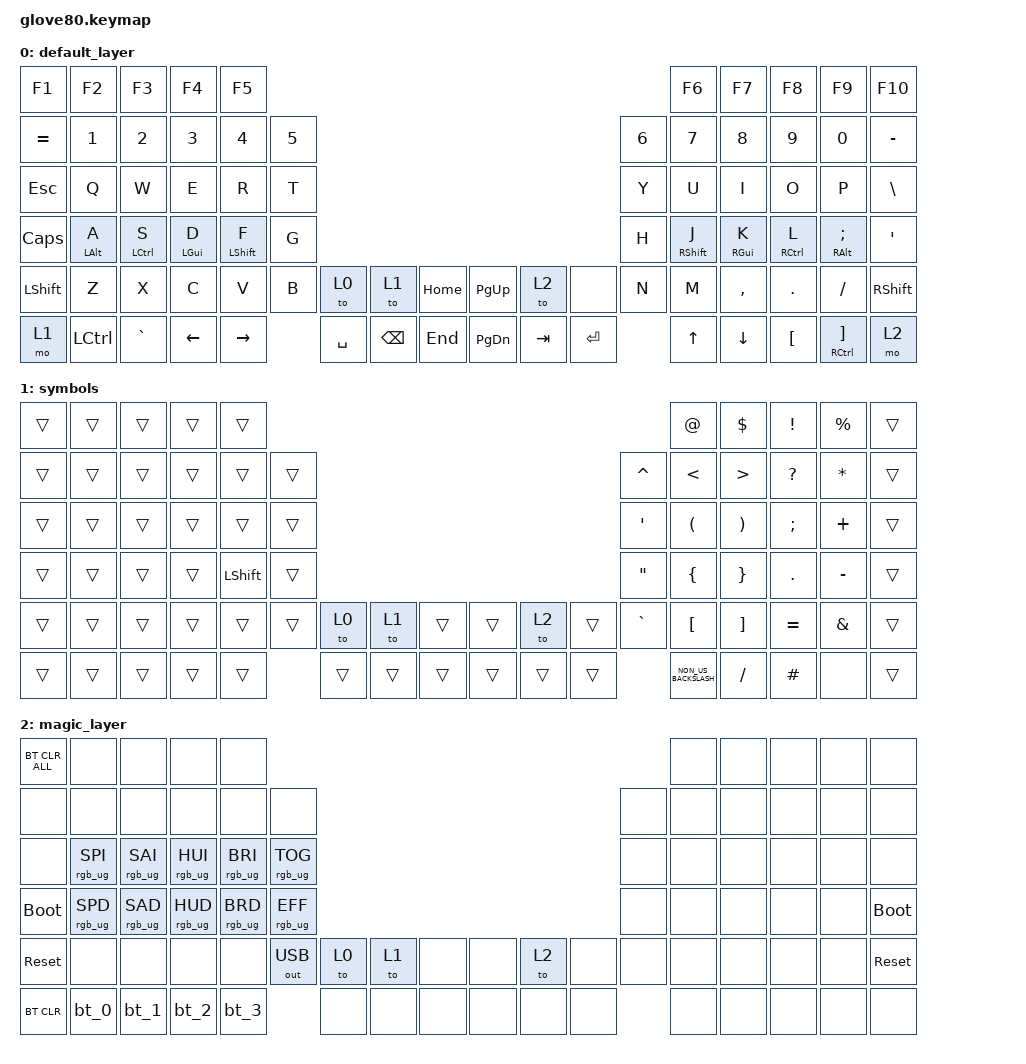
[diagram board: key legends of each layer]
/*
 * Copyright (c) 2020 The ZMK Contributors
 *
 * SPDX-License-Identifier: MIT
 */

#include <behaviors.dtsi>
#include <dt-bindings/zmk/bt.h>
#include <dt-bindings/zmk/keys.h>
#include <dt-bindings/zmk/outputs.h>
#include <dt-bindings/zmk/rgb.h>

#define HYPER LC(LS(LG(LALT)))

// layers

#define DEFAULT 0
#define LOWER 1
#define MAGIC 2
#define FACTORY_TEST 3

&mt {
    tapping-term-ms = <300>;
    flavor = "tap-preferred";
};

/ {
    behaviors {
        // For the "layer" key, it'd nice to be able to use it as either a shift or a toggle.
        // Configure it as a tap dance, so the first tap (or hold) is a &mo and the second tap is a &to

        layer_td: tap_dance_0 {
            compatible = "zmk,behavior-tap-dance";
            label = "LAYER_TAP_DANCE";
            #binding-cells = <0>;
            tapping-term-ms = <200>;
            bindings = <&mo 0>, <&to 0>;
        };

        magic: magic_hold_tap {
            compatible = "zmk,behavior-hold-tap";
            label = "MAGIC_HOLD_TAP";
            #binding-cells = <2>;
            flavor = "tap-preferred";
            tapping-term-ms = <200>;
            bindings = <&mo>, <&rgb_ug_status_macro>;
        };
    };

    macros {
        rgb_ug_status_macro: rgb_ug_status_macro_0 {
            label = "RGB_UG_STATUS";
            compatible = "zmk,behavior-macro";
            #binding-cells = <0>;
            bindings = <&rgb_ug RGB_STATUS>;
        };

        bt_0: bt_profile_macro_0 {
            label = "BT_0";
            compatible = "zmk,behavior-macro";
            #binding-cells = <0>;
            bindings = <&out OUT_BLE &bt BT_SEL 0>;
        };

        bt_1: bt_profile_macro_1 {
            label = "BT_1";
            compatible = "zmk,behavior-macro";
            #binding-cells = <0>;
            bindings = <&out OUT_BLE &bt BT_SEL 1>;
        };

        bt_2: bt_profile_macro_2 {
            label = "BT_2";
            compatible = "zmk,behavior-macro";
            #binding-cells = <0>;
            bindings = <&out OUT_BLE &bt BT_SEL 2>;
        };

        bt_3: bt_profile_macro_3 {
            label = "BT_3";
            compatible = "zmk,behavior-macro";
            #binding-cells = <0>;
            bindings = <&out OUT_BLE &bt BT_SEL 3>;
        };
    };

    keymap {
        compatible = "zmk,keymap";

        default_layer {
            // ---------------------------------------------------------------------------------------------------------------------------------
            // |  F1   |  F2 |  F3 |  F4  |  F5  |                                                               |  F6   |  F7   |  F8  |   F9  |  F10 |
            // |  =    |  1  |  2  |  3   |  4   |  5   |                                                 |  6   |   7   |   8   |  9   |   0   |   -  |
            // |  TAB  |  Q  |  W  |  E   |  R   |  T   |                                                 |  Y   |   U   |   I   |  O   |   P   |   \  |
            // |  ESC  |  A  |  S  |  D   |  F   |  G   |                                                 |  H   |   J   |   K   |  L   |   ;   |   '  |
            // |   `   |  Z  |  X  |  C   |  V   |  B   | LSHFT | LCTRL | LOWER | | LGUI  | RCTRL | RSHFT |  N   |   M   |   ,   |  .   |   /   | PGUP |
            // | MAGIC | HOME| END | LEFT | RIGHT|      | BSPC  | DEL   | LALT  | | RALT  | RET   | SPACE |      |  UP   | DOWN  |  [   |   ]   | PGDN |

            bindings = <
&kp F1          &kp F2          &kp F3       &kp F4          &kp F5                                                                                                   &kp F6             &kp F7           &kp F8       &kp F9                   &kp F10
&kp EQUAL       &kp N1          &kp N2       &kp N3          &kp N4            &kp N5                                                                         &kp N6  &kp N7             &kp N8           &kp N9       &kp N0                   &kp MINUS
&kp ESCAPE      &kp Q           &kp W        &kp E           &kp R             &kp T                                                                          &kp Y   &kp U              &kp I            &kp O        &kp P                    &kp BSLH
&kp CAPS        &mt LEFT_ALT A  &mt LCTRL S  &mt LEFT_GUI D  &mt LEFT_SHIFT F  &kp G                                                                          &kp H   &mt RIGHT_SHIFT J  &mt RIGHT_GUI K  &mt RCTRL L  &mt RIGHT_ALT SEMI       &kp SQT
&kp LEFT_SHIFT  &kp Z           &kp X        &kp C           &kp V             &kp B   &to 0      &to 1          &kp HOME  &kp PAGE_UP    &to 2    &none      &kp N   &kp M              &kp COMMA        &kp DOT      &kp FSLH                 &kp RIGHT_SHIFT
&mo 1           &kp LCTRL       &kp GRAVE    &kp LEFT        &kp RIGHT                 &kp SPACE  &kp BACKSPACE  &kp END   &kp PAGE_DOWN  &kp TAB  &kp ENTER          &kp UP             &kp DOWN         &kp LBKT     &mt RCTRL RIGHT_BRACKET  &mo 2
            >;
        };

        symbols {
            bindings = <
&trans  &trans  &trans  &trans  &trans                                                                                     &kp AT_SIGN           &kp DOLLAR             &kp EXCLAMATION  &kp PERCENT    &trans
&trans  &trans  &trans  &trans  &trans          &trans                                                  &kp CARET          &kp LESS_THAN         &kp GREATER_THAN       &kp QUESTION     &kp ASTERISK   &trans
&trans  &trans  &trans  &trans  &trans          &trans                                                  &kp SINGLE_QUOTE   &kp LEFT_PARENTHESIS  &kp RIGHT_PARENTHESIS  &kp SEMICOLON    &kp PLUS       &trans
&trans  &trans  &trans  &trans  &kp LEFT_SHIFT  &trans                                                  &kp DOUBLE_QUOTES  &kp LEFT_BRACE        &kp RIGHT_BRACE        &kp DOT          &kp MINUS      &trans
&trans  &trans  &trans  &trans  &trans          &trans  &to 0   &to 1   &trans  &trans  &to 2   &trans  &kp GRAVE          &kp LEFT_BRACKET      &kp RIGHT_BRACKET      &kp EQUAL        &kp AMPERSAND  &trans
&trans  &trans  &trans  &trans  &trans                  &trans  &trans  &trans  &trans  &trans  &trans                     &kp NON_US_BACKSLASH  &kp SLASH              &kp HASH         &none          &trans
            >;
        };

        magic_layer {
            bindings = <
&bt BT_CLR_ALL  &none            &none            &none            &none                                                                              &none  &none  &none  &none  &none
&none           &none            &none            &none            &none            &none                                                      &none  &none  &none  &none  &none  &none
&none           &rgb_ug RGB_SPI  &rgb_ug RGB_SAI  &rgb_ug RGB_HUI  &rgb_ug RGB_BRI  &rgb_ug RGB_TOG                                            &none  &none  &none  &none  &none  &none
&bootloader     &rgb_ug RGB_SPD  &rgb_ug RGB_SAD  &rgb_ug RGB_HUD  &rgb_ug RGB_BRD  &rgb_ug RGB_EFF                                            &none  &none  &none  &none  &none  &bootloader
&sys_reset      &none            &none            &none            &none            &out OUT_USB     &to 0  &to 1  &none  &none  &to 2  &none  &none  &none  &none  &none  &none  &sys_reset
&bt BT_CLR      &bt_0            &bt_1            &bt_2            &bt_3                             &none  &none  &none  &none  &none  &none         &none  &none  &none  &none  &none
            >;
        };
    };
};
